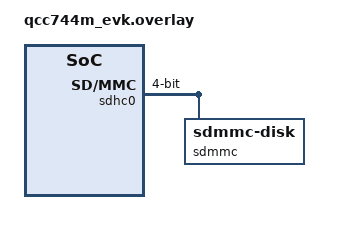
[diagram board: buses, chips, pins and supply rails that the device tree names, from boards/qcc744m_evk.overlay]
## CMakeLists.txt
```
# Copyright (c) 2026 Qualcomm Technologies, Inc. and/or its subsidiaries
# SPDX-License-Identifier: BSD-3-Clause

cmake_minimum_required(VERSION 3.20.0)
find_package(Zephyr REQUIRED HINTS $ENV{ZEPHYR_BASE})
project(littlefs)

FILE(GLOB app_sources src/*.c)
target_sources(app PRIVATE ${app_sources})
```

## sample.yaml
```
# Copyright (c) 2026 Qualcomm Technologies, Inc. and/or its subsidiaries
# SPDX-License-Identifier: BSD-3-Clause

tests:
  qcc7xx.sample.filesystem.sdhc:
    harness: console
    harness_config:
      type: one_line
      regex:
        - "All operations completed successfully !"
    timeout: 180
    platform_allow:
      - qcc744m_evk
      - qcc748m_evk
      - qcc748m_evk/qcc748
```

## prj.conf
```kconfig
#
# SPDX-License-Identifier: Apache-2.0
#

# Logging for debugging
CONFIG_LOG=y
CONFIG_LOG_MODE_MINIMAL=y
CONFIG_LOG_MODE_IMMEDIATE=y
CONFIG_CBPRINTF_FP_SUPPORT=y

# Optimization
CONFIG_SPEED_OPTIMIZATIONS=y
#CONFIG_SIZE_OPTIMIZATIONS=y
#CONFIG_NO_OPTIMIZATIONS=y

# sdhc driver
#CONFIG_SDHC_LOG_LEVEL_DBG=y
#CONFIG_SDHC_LOG_LEVEL_INF=y
CONFIG_SDHC_LOG_LEVEL_WRN=y

# sd middleware
#CONFIG_SD_LOG_LEVEL_DBG=y
CONFIG_SD_LOG_LEVEL_WRN=y

# File system
#CONFIG_FS_LOG_LEVEL_DBG=y
CONFIG_FS_LOG_LEVEL_ERR=y

# File system support
CONFIG_FILE_SYSTEM=y         # Enables the Zephyr file system API
CONFIG_FAT_FILESYSTEM_ELM=y  # Enables the FATFS file system implementation (ELM FATFS port)
CONFIG_FILE_SYSTEM_MKFS=y
CONFIG_FS_FATFS_LFN=y        # Enables long file name support for FATFS, useful for filenames longer than 8.3 format
CONFIG_FS_FATFS_MKFS=y       # Enables creating disks with FAT file system
CONFIG_FS_FATFS_MOUNT_MKFS=y # Allows automatic formatting of the SD card if no valid filesystem is detected
CONFIG_FS_FATFS_EXFAT=y      # Enable the exFAT format support for FatFs

# Disk access for SD card
CONFIG_DISK_ACCESS=y         # Enables the disk access API for interacting with storage devices like SD cards
CONFIG_DISK_DRIVER_SDMMC=y   # Enables the SD/MMC driver for SD card communication
CONFIG_DISK_DRIVER_MMC=n

# Hardware support (example for SDMMC)
CONFIG_SDMMC_STACK=y
CONFIG_MMC_STACK=n
CONFIG_SDIO_STACK=n

# Common
CONFIG_MAIN_STACK_SIZE=8192
CONFIG_COMMON_LIBC_MALLOC_ARENA_SIZE=8192

# WAR: Hang happens when enable PSRAM, comment it for now
# TODO: need to check the root cause
CONFIG_PSRAM=n
```

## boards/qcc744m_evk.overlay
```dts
/*
 * Copyright (c) 2026 Qualcomm Technologies, Inc. and/or its subsidiaries
 *
 * SPDX-License-Identifier: BSD-3-Clause
 */

&sdhc0 {
	status = "okay";
	bus-width = <4>;
	max-bus-freq = <48000000>;
	power-delay-ms = <500>;
	pinctrl-0 = <&sdhc0_default>;
	pinctrl-names = "default";

	sdmmc {
		compatible = "zephyr,sdmmc-disk";
		disk-name = "SD";
		status = "okay";
	};
};

&pinctrl {
	sdhc0_default: sdhc0_default {
		group1 {
			pinmux = <GPIO10_SDH_DAT1>,
				<GPIO11_SDH_DAT0>,
				<GPIO12_SDH_CLK>,
				<GPIO13_SDH_CMD>,
				<GPIO14_SDH_DAT3>,
				<GPIO15_SDH_DAT2>;
			bias-pull-up;
			input-schmitt-enable;
			drive-strength = <2>;
			input-enable;
		};
	};
};
```

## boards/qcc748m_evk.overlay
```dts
/*
 * Copyright (c) 2026 Qualcomm Technologies, Inc. and/or its subsidiaries
 *
 * SPDX-License-Identifier: BSD-3-Clause
 */

/ {
};

&sdhc0 {
	status = "okay";
	bus-width = <4>;
	min-bus-freq = <400000>;
	max-bus-freq = <25000000>;
	power-delay-ms = <1000>;
	pinctrl-0 = <&sdhc0_default>;
	pinctrl-names = "default";

	sdmmc {
		compatible = "zephyr,sdmmc-disk";
		disk-name = "SD";
		status = "okay";
	};
};

&pinctrl {
	sdhc0_default: sdhc0_default {
		group1 {
			pinmux = <SDH_DAT1_GPIO10>,
				<SDH_DAT0_GPIO11>,
				<SDH_CLK_GPIO12>,
				<SDH_CMD_GPIO13>,
				<SDH_DAT3_GPIO14>,
				<SDH_DAT2_GPIO15>;
			bias-pull-up;
			input-schmitt-enable;
			drive-strength = <2>;
			input-enable;
		};
	};
};
```

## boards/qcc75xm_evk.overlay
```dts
/*
 * Copyright (c) 2026 Qualcomm Technologies, Inc. and/or its subsidiaries
 *
 * SPDX-License-Identifier: BSD-3-Clause
 */

&sdhc0 {
	status = "okay";
	bus-width = <4>;
	max-bus-freq = <48000000>;
	power-delay-ms = <500>;
	pinctrl-0 = <&sdhc0_default>;
	pinctrl-names = "default";

	sdmmc {
		compatible = "zephyr,sdmmc-disk";
		disk-name = "SD";
		status = "okay";
	};
};

&pinctrl {
	sdhc0_default: sdhc0_default {
		group1 {
			pinmux = <GPIO48_SDH0_DAT1>,
				<GPIO47_SDH0_DAT0>,
				<GPIO46_SDH0_CLK>,
				<GPIO45_SDH0_CMD>,
				<GPIO44_SDH0_DAT3>,
				<GPIO43_SDH0_DAT2>;
			bias-pull-up;
			input-schmitt-enable;
			drive-strength = <2>;
			input-enable;
		};
	};
};
```

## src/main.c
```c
/*
 * Copyright (c) 2026 Qualcomm Technologies, Inc. and/or its subsidiaries
 * SPDX-License-Identifier: BSD-3-Clause
 */

#include <zephyr/kernel.h>
#include <zephyr/fs/fs.h>
#include <zephyr/device.h>
#include <zephyr/storage/disk_access.h>
#include <zephyr/logging/log.h>
#include <zephyr/sys/util.h>
#include <zephyr/sys/time_units.h>
#include <ff.h>
#include <stdio.h>
#include <string.h>
#include <inttypes.h>

// Logging module
LOG_MODULE_REGISTER(main, LOG_LEVEL_INF);

// Define the mount point for SD card
#define SD_MOUNT_POINT "/SD:"
#define DISK_NAME      "SD"

// Buffer size for write/read operations, min 512)
#define BUFFER_SIZE (32 * 1024)
static __attribute((aligned(CONFIG_SDHC_BUFFER_ALIGNMENT))) uint8_t buf[BUFFER_SIZE];

// Pattern seed for verification
#define PATTERN_SEED 0xAA

// Max file size for FAT32 (4GB - 1 byte)
// #define MAX_FILE_SIZE (4LL * 1024 * 1024 * 1024 - 1)
#define MAX_FILE_SIZE (1LL * 10 * 1024 * 1024)
// Create NUM files, set max to fill whole disk.
// #define FILE_NUM (0xFFFFFFF)
#define FILE_NUM      (5)

// Static FATFS structure
static FATFS fat_fs;

// Mount structure
static struct fs_mount_t sd_mp = {
	.type = FS_FATFS, .fs_data = &fat_fs, .mnt_point = SD_MOUNT_POINT};

// Check free space
static void check_free_space(void)
{
	struct fs_statvfs sbuf;
	int ret = fs_statvfs((const char *)SD_MOUNT_POINT, &sbuf);
	if (ret < 0) {
		LOG_ERR("Failed to fs_statvfs() %d", ret);
		return;
	}

	uint64_t free_bytes = (uint64_t)sbuf.f_bfree * sbuf.f_frsize;
	LOG_INF("Disk free space: %llu bytes", free_bytes);
	LOG_INF("Disk total space: %llu bytes", (uint64_t)sbuf.f_blocks * sbuf.f_frsize);
}

// Function to mount the SD card
static int mount_sd_card(void)
{
	int ret = fs_mount(&sd_mp);
	if (ret != 0) {
		LOG_ERR("Failed to mount SD card: %d", ret);
	} else {
		LOG_INF("SD card mounted successfully.");
	}
	return ret;
}

// Function to get disk capacity
static int64_t get_disk_capacity(void)
{
	uint32_t sector_count, sector_size;
	int ret = disk_access_init(DISK_NAME);
	if (ret != 0) {
		LOG_ERR("Disk init error: %d", ret);
		return -1;
	}
	ret = disk_access_ioctl(DISK_NAME, DISK_IOCTL_GET_SECTOR_COUNT, &sector_count);
	if (ret != 0) {
		LOG_ERR("Get sector count error: %d", ret);
		return -1;
	}
	ret = disk_access_ioctl(DISK_NAME, DISK_IOCTL_GET_SECTOR_SIZE, &sector_size);
	if (ret != 0) {
		LOG_ERR("Get sector size error: %d", ret);
		return -1;
	}
	LOG_INF("Disk capacity: %" PRIu32 " sectors, size %u bytes each. Total: %" PRIi64 " bytes",
		sector_count, sector_size, (int64_t)sector_count * sector_size);
	return (int64_t)sector_count * sector_size;
}

// Generate pattern for a buffer based on global position
static void generate_pattern(uint8_t *buf, size_t size, uint64_t position)
{
	for (size_t i = 0; i < size; i++) {
		buf[i] = (uint8_t)((position + i) ^ PATTERN_SEED);
	}
}

// Verify buffer against pattern
static bool verify_pattern(const uint8_t *buf, size_t size, uint64_t position)
{
	for (size_t i = 0; i < size; i++) {
		uint8_t expected = (uint8_t)((position + i) ^ PATTERN_SEED);
		if (buf[i] != expected) {
			LOG_ERR("Verification failed at position %" PRIu64
				": expected 0x%02x, got 0x%02x",
				position + i, expected, buf[i]);
			return false;
		}
	}
	return true;
}

// Function to write files to fill the disk
static int write_files_to_disk(void)
{
	struct fs_file_t file;
	int file_num = 1;
	uint64_t total_written = 0;
	bool disk_full = false;

	while (!disk_full) {
		char filename[32];
		snprintf(filename, sizeof(filename), "%s/test%d.dat", SD_MOUNT_POINT, file_num);

		fs_file_t_init(&file);
		int ret = fs_open(&file, filename, FS_O_CREATE | FS_O_WRITE);
		if (ret != 0) {
			LOG_ERR("Failed to open %s: %d", filename, ret);
			return ret;
		}

		LOG_INF("Writing %" PRIu64 " bytes to %s", MAX_FILE_SIZE, filename);

		// Start timing
		uint64_t generate_cycles = 0;
		uint64_t start_cycles = k_cycle_get_64();

		uint64_t file_written = 0;
		while (file_written < MAX_FILE_SIZE) {
			size_t to_write = BUFFER_SIZE;
			if (file_written + to_write > MAX_FILE_SIZE) {
				to_write = MAX_FILE_SIZE - file_written;
			}

			// Global position for pattern
			// Exclude pattern generation time from benchmark
			uint64_t generate_start = k_cycle_get_64();
			uint64_t position = (uint64_t)(file_num - 1) * MAX_FILE_SIZE + file_written;
			generate_pattern(buf, to_write, position);
			generate_cycles += (k_cycle_get_64() - generate_start);

			ssize_t written = fs_write(&file, buf, to_write);
			if (written < 0) {
				LOG_ERR("Write error: %d", (int)written);
				fs_close(&file);
				return (int)written;
			} else if (written == 0) {
				// Disk full
				disk_full = true;
				break;
			}

			file_written += written;
			total_written += written;

			if (written < to_write) {
				// Partial write, likely disk full
				disk_full = true;
				break;
			}
		}

		// End timing
		uint64_t end_cycles = k_cycle_get_64();

		ret = fs_sync(&file);
		if (ret < 0) {
			LOG_ERR("Failed fs_sync() %s: %d", filename, ret);
		}
		fs_close(&file);

		// Calculate speed in MB/s (1 MB = 1024 * 1024 bytes)
		uint64_t cycles = end_cycles - start_cycles - generate_cycles;
		uint32_t freq_hz = sys_clock_hw_cycles_per_sec();
		double time_seconds = (double)cycles / freq_hz;
		double speed_kbps = (file_written / (1024.0)) / time_seconds;

		LOG_INF("Wrote %" PRIu64 " bytes to %s. Write speed %.2f KB/s", file_written,
			filename, speed_kbps);

		file_num++;

		if (file_num > FILE_NUM) {
			break;
		}
	}

	LOG_INF("Disk filled. Total written: %" PRIu64 " bytes, %d files", total_written,
		file_num - 1);

	return 0;
}

// Function to read and verify all files
static int read_and_verify_files(bool is_verify)
{
	struct fs_file_t file;
	struct fs_dirent entry;
	int file_num = 1;
	uint64_t total_read = 0;

	while (true) {
		char filename[32];
		snprintf(filename, sizeof(filename), "%s/test%d.dat", SD_MOUNT_POINT, file_num);

		fs_file_t_init(&file);
		int ret = fs_open(&file, filename, FS_O_READ);
		if (ret != 0) {
			if (ret == -ENOENT) {
				// No more files
				break;
			}
			LOG_ERR("Failed to open %s, ret %d", filename, ret);
			return ret;
		}

		// Get file info (including size)
		ret = fs_stat(filename, &entry);
		if (ret < 0) {
			LOG_ERR("Failed to stat %s: %d", filename, ret);
			fs_close(&file);
			return ret;
		}

		if (is_verify) {
			LOG_INF("Read and verify %d bytes in %s", entry.size, filename);
		} else {
			LOG_INF("Read %d bytes in %s", entry.size, filename);
		}

		// Start timing
		uint64_t verify_cycles = 0;
		uint64_t start_cycles = k_cycle_get_64();

		uint64_t file_read = 0;
		while (true) {
			ssize_t read = fs_read(&file, buf, BUFFER_SIZE);
			if (read <= 0) {
				break; // End of file or error
			}

			if (is_verify) {
				// Global position for pattern
				// Exclude pattern generation time from benchmark
				uint64_t verify_start = k_cycle_get_64();
				uint64_t position =
					(uint64_t)(file_num - 1) * MAX_FILE_SIZE + file_read;
				if (!verify_pattern(buf, read, position)) {
					fs_close(&file);
					return -1;
				}
				verify_cycles += (k_cycle_get_64() - verify_start);
			}
			file_read += read;
			total_read += read;
		}

		// End timing
		uint64_t end_cycles = k_cycle_get_64();
		fs_close(&file);
		uint64_t cycles = end_cycles - start_cycles - verify_cycles;
		uint32_t freq_hz = sys_clock_hw_cycles_per_sec();
		double time_seconds = (double)cycles / freq_hz;

		// Calculate speed in MB/s (1 MB = 1024 * 1024 bytes)
		double speed_kbps = (file_read / (1024.0)) / time_seconds;

		if (is_verify) {
			LOG_INF("Verified %" PRIu64 " bytes in %s. Read speed %.2f KB/s", file_read,
				filename, speed_kbps);
		} else {
			LOG_INF("Read %" PRIu64 " bytes in %s. Read speed %.2f KB/s", file_read,
				filename, speed_kbps);
		}
		file_num++;
	}

	if (is_verify) {
		LOG_INF("Verification complete. Total verified: %" PRIu64 " bytes, %d files",
			total_read, file_num - 1);
	} else {
		LOG_INF("Read complete. Total read: %" PRIu64 " bytes, %d files", total_read,
			file_num - 1);
	}

	return 0;
}

int main(void)
{
	int ret = -1;
	LOG_INF("Starting SD card format, write, read and verify example.");

	// Get card capacity
	get_disk_capacity();

	while (1) {
		// Mount the SD card (format if necessary)
		if (mount_sd_card()) {
			break;
		}

		// Get capacity
		int64_t capacity = get_disk_capacity();
		LOG_INF("Disk capacity: %lld bytes, %lld Mbytes", capacity,
			capacity / (1024 * 1024));
		check_free_space();
		if (capacity < 0) {
			LOG_ERR("Unknown disk capacity.");
			break;
		}

		// Write files
		// Exclude pattern generation time from benchmark
		if (write_files_to_disk()) {
			LOG_ERR("Write files to disk failed.");
			break;
		}

		// Read and verify
		// Exclude pattern generation time from benchmark
		if (read_and_verify_files(true)) {
			LOG_ERR("Verification failed.");
			break;
		} else {
			LOG_INF("All operations completed successfully !");
			ret = 0;
			break;
		}
	}

	LOG_INF("All operations completed !");

	while (1) {
		k_msleep(2000);
	}

	return ret;
}
```
